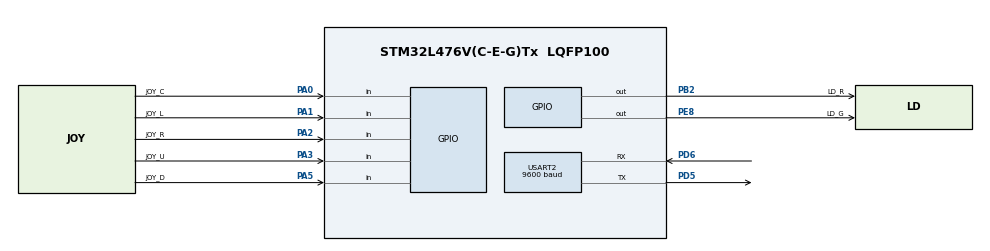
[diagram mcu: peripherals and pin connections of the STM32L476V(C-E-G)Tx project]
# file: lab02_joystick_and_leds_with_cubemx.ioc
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Mcu.Family=STM32L4
Mcu.Name=STM32L476V(C-E-G)Tx
Mcu.Package=LQFP100
NVIC.PriorityGroup=NVIC_PRIORITYGROUP_4
PA0.GPIO_Label=JOY_C
PA0.GPIO_Mode=GPIO_MODE_INPUT
PA0.GPIO_PuPd=GPIO_PULLDOWN
PA0.Signal=GPIO_Input
PA1.GPIO_Label=JOY_L
PA1.GPIO_PuPd=GPIO_PULLDOWN
PA1.Signal=GPIO_Input
PA2.GPIO_Label=JOY_R
PA2.GPIO_PuPd=GPIO_PULLDOWN
PA2.Signal=GPIO_Input
PA3.GPIO_Label=JOY_U
PA3.GPIO_PuPd=GPIO_PULLDOWN
PA3.Signal=GPIO_Input
PA5.GPIO_Label=JOY_D
PA5.GPIO_PuPd=GPIO_PULLDOWN
PA5.Signal=GPIO_Input
PB2.GPIO_Label=LD_R
PB2.GPIO_Speed=GPIO_SPEED_FREQ_LOW
PB2.PinState=GPIO_PIN_RESET
PB2.Signal=GPIO_Output
PD5.GPIO_PuPd=GPIO_PULLUP
PD5.Mode=Asynchronous
PD5.Signal=USART2_TX
PD6.GPIO_PuPd=GPIO_PULLUP
PD6.Mode=Asynchronous
PD6.Signal=USART2_RX
PE8.GPIO_Label=LD_G
PE8.PinState=GPIO_PIN_RESET
PE8.Signal=GPIO_Output
ProjectManager.HeapSize=0x200
ProjectManager.StackSize=0x400
ProjectManager.TargetToolchain=MDK-ARM V5
RCC.HSE_VALUE=8000000
RCC.HSI_VALUE=16000000
RCC.LSE_VALUE=32768
RCC.MSI_VALUE=4000000
RCC.VCOOutputFreq_Value=32000000
USART2.BaudRate=9600
USART2.VirtualMode-Asynchronous=VM_ASYNC
board=lab02_joystick_and_leds_with_cubemx

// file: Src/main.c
/* USER CODE BEGIN Header */
/**
  ******************************************************************************
  * @file           : main.c
  * @brief          : Main program body
  ******************************************************************************
  ** This notice applies to any and all portions of this file
  * that are not between comment pairs USER CODE BEGIN and
  * USER CODE END. Other portions of this file, whether
  * inserted by the user or by software development tools
  * are owned by their respective copyright owners.
  *
  * COPYRIGHT(c) 2019 STMicroelectronics
  *
  * Redistribution and use in source and binary forms, with or without modification,
  * are permitted provided that the following conditions are met:
  *   1. Redistributions of source code must retain the above copyright notice,
  *      this list of conditions and the following disclaimer.
  *   2. Redistributions in binary form must reproduce the above copyright notice,
  *      this list of conditions and the following disclaimer in the documentation
  *      and/or other materials provided with the distribution.
  *   3. Neither the name of STMicroelectronics nor the names of its contributors
  *      may be used to endorse or promote products derived from this software
  *      without specific prior written permission.
  *
  * THIS SOFTWARE IS PROVIDED BY THE COPYRIGHT HOLDERS AND CONTRIBUTORS "AS IS"
  * AND ANY EXPRESS OR IMPLIED WARRANTIES, INCLUDING, BUT NOT LIMITED TO, THE
  * IMPLIED WARRANTIES OF MERCHANTABILITY AND FITNESS FOR A PARTICULAR PURPOSE ARE
  * DISCLAIMED. IN NO EVENT SHALL THE COPYRIGHT HOLDER OR CONTRIBUTORS BE LIABLE
  * FOR ANY DIRECT, INDIRECT, INCIDENTAL, SPECIAL, EXEMPLARY, OR CONSEQUENTIAL
  * DAMAGES (INCLUDING, BUT NOT LIMITED TO, PROCUREMENT OF SUBSTITUTE GOODS OR
  * SERVICES; LOSS OF USE, DATA, OR PROFITS; OR BUSINESS INTERRUPTION) HOWEVER
  * CAUSED AND ON ANY THEORY OF LIABILITY, WHETHER IN CONTRACT, STRICT LIABILITY,
  * OR TORT (INCLUDING NEGLIGENCE OR OTHERWISE) ARISING IN ANY WAY OUT OF THE USE
  * OF THIS SOFTWARE, EVEN IF ADVISED OF THE POSSIBILITY OF SUCH DAMAGE.
  *
  ******************************************************************************
  */
/* USER CODE END Header */

#include "main.h"
#include <stdbool.h>

UART_HandleTypeDef huart2;

void SystemClock_Config(void);
static void MX_GPIO_Init(void);
static void MX_USART2_UART_Init(void);
/* USER CODE BEGIN PFP */
#ifdef __GNUC__
/* With GCC, small printf (option LD Linker->Libraries->Small printf
   set to 'Yes') calls __io_putchar() */
#define PUTCHAR_PROTOTYPE int __io_putchar(int ch)
#else
#define PUTCHAR_PROTOTYPE int fputc(int ch, FILE *f)
#endif /* __GNUC__ */
/* USER CODE END PFP */

int main(void)
{

  /* MCU Configuration--------------------------------------------------------*/

  /* Reset of all peripherals, Initializes the Flash interface and the Systick. */
  HAL_Init();

  /* Configure the system clock */
  SystemClock_Config();

  /* Initialize all configured peripherals */
  MX_GPIO_Init();
  MX_USART2_UART_Init();
  /* USER CODE BEGIN 2 */
	extern uint32_t read_a_bit_of_a_port(__IO uint32_t *pIDR, uint32_t pinMask);
	extern void set_a_bit_of_a_port(__IO uint32_t *pODR, uint32_t pinMask);
	extern void clear_a_bit_of_a_port(__IO uint32_t *pODR, uint32_t pinMask);

	#define LD_R_ON   set_a_bit_of_a_port(&(GPIOB -> ODR), LD_R_Pin)// set the Red LED to on
	#define LD_G_ON   set_a_bit_of_a_port(&(GPIOE -> ODR), LD_G_Pin)// set the Green LED to on
	#define LD_R_OFF  clear_a_bit_of_a_port(&(GPIOB -> ODR), LD_R_Pin)// set the Red LED to off
	#define LD_G_OFF  clear_a_bit_of_a_port(&(GPIOE -> ODR), LD_G_Pin)// set the Green LED to off

	#define JOY_C_IS_PRESSED  read_a_bit_of_a_port(&(GPIOA -> IDR), JOY_C_Pin)// Read the Center Joystick press
	#define JOY_L_IS_PRESSED  read_a_bit_of_a_port(&(GPIOA -> IDR), JOY_L_Pin)// Read the Left Joystick press
	#define JOY_R_IS_PRESSED  read_a_bit_of_a_port(&(GPIOA -> IDR), JOY_R_Pin)// Read the Right Joystick press

	enum progState{State1 = 1, State2, State3, State4};
	enum progState currentState = State1;
	bool stateChanged = true;
	bool ledON = true;
	uint32_t bDelay = 100;
  /* USER CODE END 2 */

  /* Infinite loop */
  while (1)
  {
		if (stateChanged) {
				printf("The Current state is State%1d.\n\r", currentState);
		}

		switch(currentState) {
			case State1: //State 1, LEDs should alternate between red and green
				if (stateChanged) {
					printf("Press the center key to go to State2.\n\r");
					stateChanged = false;
				}

				if (JOY_C_IS_PRESSED) {
					currentState = State2;
					stateChanged = true;
				}

				if (ledON) {
					LD_R_ON;
					LD_G_OFF;
				} else {
					LD_R_OFF;
					LD_G_ON;
				}

				HAL_Delay(bDelay);
				ledON = !ledON;
				break;

			case State2: //State 2, LEDs should be both off
				if (stateChanged) {
					printf("Press the center key to go to State1.\n\rPress the Left Key to go to State3.\n\rPress the Right Key to go State4\n\r");
					stateChanged = false;
				}

				if (JOY_C_IS_PRESSED) {
					currentState = State1;
					stateChanged = true;
				} else if (JOY_L_IS_PRESSED) {
					currentState = State3;
					stateChanged = true;
				} else if (JOY_R_IS_PRESSED) {
					currentState = State4;
					stateChanged = true;
				}

				LD_R_OFF;
				LD_G_OFF;
				break;

			case State3: //State 3, LEDs should be just the Red LED blinking with Green LED off
				if (stateChanged) {
					printf("Press the center key to go to State2.\n\rPress the Right Key to go State4\n\r");
					stateChanged = false;
				}

				if (JOY_C_IS_PRESSED) {
					currentState = State2;
					stateChanged = true;
				} else if (JOY_R_IS_PRESSED) {
					currentState = State4;
					stateChanged = true;
				}

				if (ledON) {
					LD_R_ON;
				} else {
					LD_R_OFF;
				}

				LD_G_OFF;
				HAL_Delay(2*bDelay);
				ledON = !ledON;
				break;

			case State4: //State 4, LEDs should just be the Green LED blinking, with the Red LED off
				if (stateChanged) {
					printf("Press the center key to go to State2.\n\rPress the Left Key to go State3\n\r");
					stateChanged = false;
				}

				if (JOY_C_IS_PRESSED) {
					currentState = State2;
					stateChanged = true;
				} else if (JOY_L_IS_PRESSED) {
					currentState = State3;
					stateChanged = true;
				}

				if (ledON) {
					LD_G_ON;
				} else {
					LD_G_OFF;
				}
				LD_R_OFF;
				HAL_Delay(3*bDelay);
				ledON = !ledON;
				break;
		}

  }
}

void SystemClock_Config(void)
{
  RCC_OscInitTypeDef RCC_OscInitStruct = {0};
  RCC_ClkInitTypeDef RCC_ClkInitStruct = {0};
  RCC_PeriphCLKInitTypeDef PeriphClkInit = {0};

  /**Initializes the CPU, AHB and APB busses clocks
  */
  RCC_OscInitStruct.OscillatorType = RCC_OSCILLATORTYPE_MSI;
  RCC_OscInitStruct.MSIState = RCC_MSI_ON;
  RCC_OscInitStruct.MSICalibrationValue = 0;
  RCC_OscInitStruct.MSIClockRange = RCC_MSIRANGE_6;
  RCC_OscInitStruct.PLL.PLLState = RCC_PLL_NONE;
  if (HAL_RCC_OscConfig(&RCC_OscInitStruct) != HAL_OK)
  {
    Error_Handler();
  }
  /**Initializes the CPU, AHB and APB busses clocks
  */
  RCC_ClkInitStruct.ClockType = RCC_CLOCKTYPE_HCLK|RCC_CLOCKTYPE_SYSCLK
                              |RCC_CLOCKTYPE_PCLK1|RCC_CLOCKTYPE_PCLK2;
  RCC_ClkInitStruct.SYSCLKSource = RCC_SYSCLKSOURCE_MSI;
  RCC_ClkInitStruct.AHBCLKDivider = RCC_SYSCLK_DIV1;
  RCC_ClkInitStruct.APB1CLKDivider = RCC_HCLK_DIV1;
  RCC_ClkInitStruct.APB2CLKDivider = RCC_HCLK_DIV1;

  if (HAL_RCC_ClockConfig(&RCC_ClkInitStruct, FLASH_LATENCY_0) != HAL_OK)
  {
    Error_Handler();
  }
  PeriphClkInit.PeriphClockSelection = RCC_PERIPHCLK_USART2;
  PeriphClkInit.Usart2ClockSelection = RCC_USART2CLKSOURCE_PCLK1;
  if (HAL_RCCEx_PeriphCLKConfig(&PeriphClkInit) != HAL_OK)
  {
    Error_Handler();
  }
  /**Configure the main internal regulator output voltage
  */
  if (HAL_PWREx_ControlVoltageScaling(PWR_REGULATOR_VOLTAGE_SCALE1) != HAL_OK)
  {
    Error_Handler();
  }
}

static void MX_USART2_UART_Init(void)
{

  huart2.Instance = USART2;
  huart2.Init.BaudRate = 9600;
  huart2.Init.WordLength = UART_WORDLENGTH_8B;
  huart2.Init.StopBits = UART_STOPBITS_1;
  huart2.Init.Parity = UART_PARITY_NONE;
  huart2.Init.Mode = UART_MODE_TX_RX;
  huart2.Init.HwFlowCtl = UART_HWCONTROL_NONE;
  huart2.Init.OverSampling = UART_OVERSAMPLING_16;
  huart2.Init.OneBitSampling = UART_ONE_BIT_SAMPLE_DISABLE;
  huart2.AdvancedInit.AdvFeatureInit = UART_ADVFEATURE_NO_INIT;
  if (HAL_UART_Init(&huart2) != HAL_OK)
  {
    Error_Handler();
  }

}

static void MX_GPIO_Init(void)
{
  GPIO_InitTypeDef GPIO_InitStruct = {0};

  /* GPIO Ports Clock Enable */
  __HAL_RCC_GPIOA_CLK_ENABLE();
  __HAL_RCC_GPIOB_CLK_ENABLE();
  __HAL_RCC_GPIOE_CLK_ENABLE();
  __HAL_RCC_GPIOD_CLK_ENABLE();

  /*Configure GPIO pin Output Level */
  HAL_GPIO_WritePin(LD_R_GPIO_Port, LD_R_Pin, GPIO_PIN_RESET);

  /*Configure GPIO pin Output Level */
  HAL_GPIO_WritePin(LD_G_GPIO_Port, LD_G_Pin, GPIO_PIN_RESET);

  /*Configure GPIO pins : JOY_C_Pin JOY_L_Pin JOY_R_Pin JOY_U_Pin
                           JOY_D_Pin */
  GPIO_InitStruct.Pin = JOY_C_Pin|JOY_L_Pin|JOY_R_Pin|JOY_U_Pin
                          |JOY_D_Pin;
  GPIO_InitStruct.Mode = GPIO_MODE_INPUT;
  GPIO_InitStruct.Pull = GPIO_PULLDOWN;
  HAL_GPIO_Init(GPIOA, &GPIO_InitStruct);

  /*Configure GPIO pin : LD_R_Pin */
  GPIO_InitStruct.Pin = LD_R_Pin;
  GPIO_InitStruct.Mode = GPIO_MODE_OUTPUT_PP;
  GPIO_InitStruct.Pull = GPIO_NOPULL;
  GPIO_InitStruct.Speed = GPIO_SPEED_FREQ_LOW;
  HAL_GPIO_Init(LD_R_GPIO_Port, &GPIO_InitStruct);

  /*Configure GPIO pin : LD_G_Pin */
  GPIO_InitStruct.Pin = LD_G_Pin;
  GPIO_InitStruct.Mode = GPIO_MODE_OUTPUT_PP;
  GPIO_InitStruct.Pull = GPIO_NOPULL;
  GPIO_InitStruct.Speed = GPIO_SPEED_FREQ_LOW;
  HAL_GPIO_Init(LD_G_GPIO_Port, &GPIO_InitStruct);

}

/* USER CODE BEGIN 4 */
PUTCHAR_PROTOTYPE {
	HAL_UART_Transmit(&huart2, (uint8_t *)&ch, 1, 0xFFFF);
	return ch;
}
/* USER CODE END 4 */

void Error_Handler(void)
{
}

/************************ (C) COPYRIGHT STMicroelectronics *****END OF FILE****/
